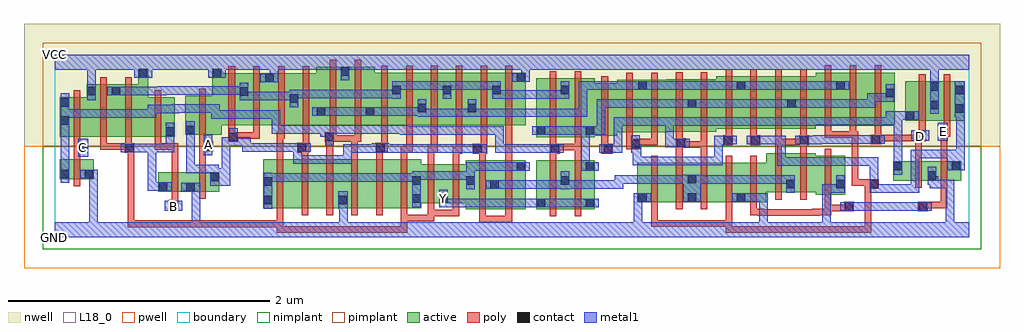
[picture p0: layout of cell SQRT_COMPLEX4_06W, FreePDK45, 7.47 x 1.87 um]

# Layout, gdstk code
import gdstk
lib = gdstk.Library(unit=1e-6, precision=1e-09)
def R(c, l, rs):  # rectangles x0, y0, x1, y1
    for r in rs: c.add(gdstk.rectangle(r[:2], r[2:], *l))
def A(c, l, x, y, w, h, nx, ny, dx, dy):  # array of equal rectangles
    R(c, l, [(x+i*dx, y+j*dy, x+i*dx+w, y+j*dy+h) for i in range(nx) for j in range(ny)])
active = (1, 0)
pwell = (2, 0)
nwell = (3, 0)
nimplant = (4, 0)
pimplant = (5, 0)
poly = (9, 0)
contact = (10, 0)
metal1 = (11, 0)
L18_0 = (18, 0)
boundary = (235, 0)

sqrt_complex4_06w = lib.new_cell('SQRT_COMPLEX4_06W')
A(sqrt_complex4_06w, active, 2.775, 0.86, 0.265, 0.4, 3, 1, 0.19, 0)
R(sqrt_complex4_06w, active, [(3.145,0.217,3.405,0.592), (3.33,0.217,3.605,0.592), (3.685,0.217,3.945,0.592), (3.685,0.217,3.76,0.385), (3.87,0.217,4.135,0.592), (4.06,0.217,4.135,0.592), (1.595,0.225,1.67,0.6), (1.595,0.225,1.82,0.6), (1.82,0.225,2.01,0.6), (2.01,0.225,2.24,0.6), (2.165,0.225,2.39,0.6), (2.165,0.225,2.24,0.527), (2.39,0.225,2.58,0.6), (2.58,0.225,2.805,0.6), (2.73,0.26,2.805,0.475), (2.73,0.262,3.012,0.562), (2.937,0.262,3.22,0.562), (2.937,0.262,3.012,0.437), (3.33,0.27,3.405,0.512), (3.53,0.27,3.605,0.592), (3.87,0.27,3.945,0.475), (4.46,0.27,4.685,0.57), (4.46,0.27,4.535,0.487), (4.685,0.27,4.915,0.57), (4.84,0.27,5.065,0.57), (4.84,0.27,4.915,0.517), (5.065,0.27,5.29,0.57), (5.215,0.27,5.445,0.57), (5.215,0.27,5.29,0.437), (5.825,0.325,6.05,0.625), (5.975,0.325,6.05,0.55), (3.145,0.33,3.22,0.475), (5.445,0.345,5.67,0.645), (5.595,0.345,5.825,0.645), (5.595,0.345,5.67,0.55), (0.792,0.35,0.867,0.5), (0.792,0.35,1.075,0.5), (1,0.35,1.26,0.5), (1,0.35,1.075,0.495), (1.185,0.35,1.26,0.5), (6.417,0.435,6.752,0.585), (6.677,0.435,6.937,0.585), (6.677,0.435,6.752,0.51), (0.04,0.447,0.3,0.597), (0.04,0.447,0.115,0.597), (0.225,0.447,0.3,0.597), (6.417,0.46,6.492,0.585), (6.862,0.495,6.937,0.585), (3.685,0.767,3.945,1.217), (3.87,0.767,4.135,1.217), (0.04,0.772,0.115,1.072), (0.04,0.772,0.32,1.072), (0.245,0.772,0.507,1.172), (0.432,0.772,0.507,1.172), (0.432,0.772,0.715,1.172), (0.64,0.772,0.92,1.072), (0.845,0.772,0.92,0.917), (3.685,0.78,3.76,0.917), (4.06,0.78,4.305,1.18), (4.06,0.78,4.135,1.07), (1,0.785,1.28,1.085), (1,0.785,1.075,0.917), (4.305,0.807,4.535,1.207), (4.46,0.807,4.685,1.207), (4.685,0.81,4.915,1.21), (4.84,0.81,5.065,1.21), (4.84,0.81,4.915,1.07), (5.065,0.832,5.29,1.232), (5.215,0.832,5.445,1.232), (5.445,0.832,5.675,1.232), (5.6,0.832,5.825,1.232), (1.205,0.857,1.487,1.257), (1.412,0.857,1.68,1.257), (1.412,0.857,1.487,1.187), (1.605,0.857,1.87,1.257), (1.605,0.857,1.68,1.257), (1.795,0.857,2.075,1.257), (2,0.857,2.26,1.307), (2.185,0.857,2.45,1.307), (2.185,0.857,2.26,1.307), (3.87,0.857,3.945,1.2), (2.375,0.86,2.655,1.26), (2.58,0.86,2.85,1.26), (2.775,0.86,2.85,1.07), (3.345,0.86,3.605,1.26), (5.825,0.862,6.05,1.262), (5.975,0.862,6.205,1.262), (6.205,0.862,6.43,1.262), (6.355,0.862,6.43,1.2), (6.51,0.895,6.77,1.195), (6.51,0.895,6.585,1.055), (6.695,0.895,6.96,1.195), (6.695,0.895,6.77,1.195), (6.885,0.895,6.96,1.165), (1.795,0.902,1.87,1.2), (2,0.902,2.075,1.07), (2.375,0.902,2.45,1.07), (0.64,0.907,0.715,1.292), (1.205,0.907,1.28,1.292), (2.58,0.907,2.655,1.2), (2.965,0.907,3.04,1.2), (3.155,0.907,3.23,1.07), (3.345,0.907,3.42,1.2), (3.53,0.907,3.605,1.26), (4.46,0.907,4.535,1.2), (5.215,0.907,5.29,1.2), (5.6,0.907,5.675,1.07), (5.975,0.907,6.05,1.2), (0.245,1.007,0.32,1.172)])
R(sqrt_complex4_06w, pwell, [(-0.235,-0.235,7.235,0.7)])
R(sqrt_complex4_06w, nwell, [(-0.235,0.7,7.235,1.635)])
R(sqrt_complex4_06w, nimplant, [(-0.09,-0.09,7.09,0.7)])
R(sqrt_complex4_06w, pimplant, [(-0.09,0.7,7.09,1.49)])
A(sqrt_complex4_06w, poly, 1.7, 0.17, 0.05, 0.485, 6, 1, 0.19, 0)
A(sqrt_complex4_06w, poly, 4.565, 0.215, 0.05, 0.41, 5, 1, 0.19, 0)
A(sqrt_complex4_06w, poly, 1.33, 0.757, 0.05, 0.095, 3, 1, 0.19, 0)
A(sqrt_complex4_06w, poly, 5.135, 0.777, 0.05, 0.51, 4, 1, 0.19, 0)
A(sqrt_complex4_06w, poly, 1.33, 0.802, 0.05, 0.51, 4, 1, 0.19, 0)
A(sqrt_complex4_06w, poly, 2.5, 0.805, 0.05, 0.51, 6, 1, 0.19, 0)
A(sqrt_complex4_06w, poly, 5.895, 0.807, 0.05, 0.51, 3, 1, 0.19, 0)
R(sqrt_complex4_06w, poly, [(1.7,0.037,1.75,0.087), (1.7,0.037,1.75,0.087), (1.7,0.037,1.982,0.087), (1.7,0.037,1.75,0.13), (1.932,0.037,1.982,0.087), (1.932,0.037,2.022,0.087), (1.972,0.037,2.022,0.087), (1.972,0.037,2.155,0.087), (2.105,0.037,2.155,0.087), (2.105,0.037,2.155,0.087), (2.105,0.037,2.155,0.087), (2.105,0.037,2.287,0.087), (2.237,0.037,2.287,0.087), (2.237,0.037,2.287,0.087), (2.237,0.037,2.287,0.087), (2.237,0.037,2.567,0.087), (2.517,0.037,2.567,0.087), (2.517,0.037,2.567,0.087), (2.517,0.037,2.567,0.087), (2.517,0.037,2.7,0.087), (2.65,0.037,2.7,0.175), (5.135,0.037,5.185,0.132), (5.135,0.037,5.185,0.087), (5.135,0.037,5.322,0.087), (5.272,0.037,5.322,0.087), (5.272,0.037,5.322,0.087), (5.272,0.037,5.322,0.087), (5.272,0.037,5.565,0.087), (5.515,0.037,5.565,0.087), (5.515,0.037,5.565,0.087), (5.515,0.037,5.565,0.087), (5.515,0.037,5.79,0.087), (5.74,0.037,5.79,0.087), (5.74,0.037,5.79,0.087), (5.74,0.037,5.79,0.087), (5.74,0.037,5.96,0.087), (5.91,0.037,5.96,0.087), (5.91,0.037,6.092,0.087), (6.042,0.037,6.092,0.087), (6.042,0.037,6.092,0.087), (6.042,0.037,6.092,0.087), (6.042,0.037,6.25,0.087), (6.2,0.037,6.25,0.447), (6.2,0.037,6.25,0.087), (6.2,0.037,6.25,0.087), (6.2,0.037,6.25,0.087), (0.56,0.08,0.61,0.13), (0.56,0.08,0.61,0.13), (0.56,0.08,0.61,0.13), (0.56,0.08,0.61,0.13), (0.56,0.08,0.61,0.13), (0.56,0.08,0.61,0.13), (0.56,0.08,0.61,0.13), (0.56,0.08,0.742,0.13), (0.56,0.08,0.61,0.697), (0.692,0.08,0.742,0.13), (0.692,0.08,0.742,0.13), (0.692,0.08,0.742,0.13), (0.692,0.08,1.022,0.13), (0.972,0.08,1.022,0.13), (0.972,0.08,1.022,0.13), (0.972,0.08,1.022,0.13), (0.972,0.08,1.227,0.13), (1.177,0.08,1.227,0.13), (1.177,0.08,1.227,0.13), (1.177,0.08,1.227,0.13), (1.177,0.08,1.36,0.13), (1.31,0.08,1.36,0.13), (1.31,0.08,1.36,0.13), (1.31,0.08,1.36,0.13), (1.31,0.08,1.617,0.13), (1.567,0.08,1.617,0.13), (1.567,0.08,1.617,0.13), (1.567,0.08,1.617,0.13), (1.567,0.08,1.75,0.13), (1.7,0.08,1.75,0.22), (4.565,0.082,4.615,0.132), (4.565,0.082,4.615,0.132), (4.565,0.082,4.615,0.132), (4.565,0.082,4.615,0.265), (4.565,0.082,4.79,0.132), (4.74,0.082,4.79,0.132), (4.74,0.082,4.79,0.132), (4.74,0.082,4.79,0.132), (4.74,0.082,4.962,0.132), (4.912,0.082,4.962,0.132), (4.912,0.082,4.962,0.132), (4.912,0.082,4.962,0.132), (4.912,0.082,5.185,0.132), (5.135,0.082,5.185,0.132), (5.135,0.082,5.185,0.132), (5.135,0.082,5.185,0.132), (5.135,0.082,5.185,0.265), (3.25,0.117,3.3,0.212), (3.25,0.117,3.3,0.167), (3.25,0.117,3.3,0.167), (3.25,0.117,3.3,0.167), (3.25,0.117,3.5,0.167), (3.45,0.117,3.5,0.212), (3.45,0.117,3.5,0.167), (2.65,0.125,2.7,0.22), (2.65,0.125,2.905,0.175), (2.855,0.125,2.905,0.175), (2.855,0.125,2.905,0.175), (2.855,0.125,2.905,0.212), (2.855,0.162,2.905,0.257), (2.855,0.162,3.095,0.212), (3.045,0.162,3.095,0.257), (3.045,0.162,3.095,0.212), (3.045,0.162,3.095,0.212), (3.045,0.162,3.095,0.212), (3.25,0.162,3.3,0.647), (3.45,0.162,3.5,0.647), (3.79,0.162,3.84,0.647), (3.98,0.162,4.03,0.647), (5.382,0.165,5.432,0.22), (5.382,0.165,5.565,0.215), (5.515,0.165,5.565,0.215), (5.515,0.165,5.657,0.215), (5.607,0.165,5.657,0.215), (5.607,0.165,5.697,0.215), (5.647,0.165,5.697,0.215), (5.647,0.165,5.852,0.215), (5.802,0.165,5.852,0.22), (5.325,0.17,5.375,0.265), (5.325,0.17,5.375,0.22), (5.325,0.17,5.432,0.22), (5.802,0.17,5.945,0.22), (5.895,0.17,5.945,0.25), (5.895,0.2,5.945,0.32), (5.895,0.2,6.092,0.25), (6.042,0.2,6.092,0.25), (6.042,0.2,6.092,0.25), (6.042,0.2,6.092,0.25), (6.042,0.2,6.092,0.25), (6.042,0.2,6.117,0.275), (6.607,0.2,6.682,0.275), (2.855,0.207,2.905,0.617), (3.045,0.207,3.095,0.617), (0.872,0.212,0.947,0.287), (6.632,0.225,6.832,0.275), (6.782,0.225,6.832,0.43), (6.782,0.225,6.832,0.275), (6.782,0.225,6.832,0.275), (6.782,0.225,6.832,0.275), (0.897,0.237,0.947,0.345), (5.895,0.27,5.945,0.68), (5.515,0.29,5.565,0.7), (5.705,0.29,5.755,0.7), (0.897,0.295,0.947,0.555), (1.105,0.295,1.155,0.555), (6.232,0.372,6.307,0.447), (6.587,0.38,6.637,0.64), (6.782,0.38,6.832,0.64), (0.145,0.392,0.195,0.652), (6.1,0.397,6.15,0.447), (6.1,0.397,6.25,0.447), (6.1,0.397,6.15,0.812), (6.2,0.397,6.25,0.447), (6.2,0.397,6.25,0.447), (6.2,0.397,6.25,0.447), (6.2,0.397,6.282,0.447), (0.897,0.505,0.947,0.722), (1.105,0.505,1.155,0.71), (2.855,0.567,2.905,0.7), (3.045,0.567,3.095,0.692), (4.755,0.575,4.805,0.735), (4.945,0.575,4.995,0.735), (6.587,0.59,6.637,0.787), (6.782,0.59,6.832,0.82), (3.25,0.597,3.3,0.692), (3.45,0.597,3.5,0.81), (3.79,0.597,3.84,0.692), (3.98,0.597,4.03,0.717), (0.145,0.602,0.195,0.697), (1.7,0.605,1.75,0.807), (1.89,0.605,1.94,0.7), (2.08,0.605,2.13,0.782), (2.27,0.605,2.32,0.782), (2.46,0.605,2.51,0.7), (2.65,0.605,2.7,0.7), (3.045,0.642,3.12,0.692), (3.07,0.642,3.12,0.855), (3.2,0.642,3.31,0.717), (3.79,0.642,3.865,0.717), (4.185,0.642,4.272,0.717), (0.145,0.647,0.252,0.722), (0.535,0.647,0.61,0.722), (1.855,0.65,1.95,0.725), (2.457,0.65,2.55,0.725), (2.65,0.65,2.74,0.7), (2.69,0.65,2.74,0.855), (2.855,0.65,2.93,0.7), (2.88,0.65,2.93,0.855), (5.515,0.65,5.565,0.757), (5.705,0.65,5.755,0.757), (1.105,0.66,1.212,0.735), (3.26,0.667,3.31,0.855), (3.79,0.667,3.84,0.762), (3.815,0.667,4.03,0.717), (3.98,0.667,4.03,0.762), (3.98,0.667,4.03,0.717), (3.98,0.667,4.03,0.717), (3.98,0.667,4.03,0.717), (4.185,0.667,4.235,0.775), (0.145,0.672,0.195,0.767), (0.35,0.672,0.4,0.767), (0.35,0.672,0.4,0.722), (0.35,0.672,0.4,0.722), (0.35,0.672,0.4,0.722), (0.35,0.672,0.585,0.722), (0.54,0.672,0.59,0.767), (0.765,0.672,0.815,0.722), (0.765,0.672,0.947,0.722), (0.765,0.672,0.815,1.127), (1.9,0.675,1.95,0.852), (2.5,0.675,2.55,0.855), (4.375,0.677,4.482,0.757), (1.105,0.685,1.155,0.78), (4.755,0.685,4.83,0.76), (4.78,0.685,4.83,0.735), (4.78,0.685,4.83,0.735), (4.78,0.685,4.995,0.735), (4.945,0.685,4.995,0.735), (4.945,0.685,4.995,0.805), (4.375,0.707,4.425,0.802), (4.432,0.707,4.482,0.757), (4.432,0.707,4.482,0.757), (4.432,0.707,4.615,0.757), (4.565,0.707,4.615,0.802), (4.565,0.707,4.615,0.757), (5.115,0.707,5.19,0.782), (5.325,0.707,5.4,0.782), (5.515,0.707,5.565,0.757), (5.515,0.707,5.565,0.757), (5.515,0.707,5.565,0.757), (5.515,0.707,5.565,0.827), (5.515,0.707,5.747,0.757), (5.697,0.707,5.772,0.782), (4.755,0.71,4.805,0.805), (3.79,0.712,3.84,1.272), (3.98,0.712,4.03,1.272), (6.247,0.712,6.325,0.787), (0.145,0.717,0.195,1.127), (0.35,0.717,0.4,1.227), (0.54,0.717,0.59,1.227), (4.185,0.725,4.235,1.235), (1.105,0.73,1.155,1.14), (1.33,0.732,1.405,0.807), (2.065,0.732,2.155,0.807), (2.105,0.732,2.155,0.782), (2.105,0.732,2.155,0.782), (2.105,0.732,2.32,0.782), (2.27,0.732,2.345,0.782), (2.295,0.732,2.345,0.852), (5.135,0.732,5.185,0.827), (5.325,0.732,5.375,0.827), (5.705,0.732,5.755,0.827), (6.275,0.737,6.457,0.787), (6.275,0.737,6.325,0.857), (6.407,0.737,6.457,0.787), (6.407,0.737,6.457,0.787), (6.407,0.737,6.457,0.787), (6.407,0.737,6.637,0.787), (6.587,0.737,6.665,0.812), (4.375,0.752,4.425,1.262), (4.565,0.752,4.615,1.262), (4.755,0.755,4.805,1.265), (4.945,0.755,4.995,1.265), (1.355,0.757,1.405,0.807), (1.355,0.757,1.405,0.807), (1.355,0.757,1.57,0.807), (1.52,0.757,1.57,0.807), (1.7,0.757,1.76,0.807), (2.105,0.757,2.155,0.852), (3.45,0.76,3.5,0.855), (3.45,0.76,3.5,0.81), (5.895,0.762,5.945,0.857), (5.895,0.762,5.945,0.812), (5.895,0.762,6.117,0.812), (6.067,0.762,6.117,0.812), (6.067,0.762,6.135,0.812), (6.085,0.762,6.135,0.857), (6.085,0.762,6.135,0.812), (6.085,0.762,6.135,0.812), (6.085,0.762,6.15,0.812), (6.615,0.762,6.665,0.89), (6.765,0.77,6.855,0.845), (6.805,0.795,6.855,0.89), (2.105,0.802,2.155,1.362), (2.295,0.802,2.345,1.362), (6.615,0.84,6.665,1.25), (6.805,0.84,6.855,1.25)])
R(sqrt_complex4_06w, contact, [(6.047,0.205,6.112,0.27), (6.612,0.205,6.677,0.27), (0.877,0.217,0.942,0.282), (3.69,0.232,3.755,0.297), (4.065,0.232,4.13,0.297), (1.6,0.255,1.665,0.32), (2.17,0.255,2.235,0.32), (2.735,0.265,2.8,0.33), (2.942,0.267,3.007,0.332), (4.465,0.275,4.53,0.34), (4.845,0.275,4.91,0.34), (5.22,0.275,5.285,0.34), (1.005,0.355,1.07,0.42), (0.797,0.357,0.862,0.422), (3.335,0.372,3.4,0.437), (5.6,0.377,5.665,0.442), (5.98,0.377,6.045,0.442), (6.237,0.377,6.302,0.442), (1.6,0.395,1.665,0.46), (2.735,0.405,2.8,0.47), (3.15,0.405,3.215,0.47), (3.875,0.405,3.94,0.47), (4.845,0.415,4.91,0.48), (1.19,0.43,1.255,0.495), (6.682,0.44,6.747,0.505), (0.045,0.452,0.11,0.517), (0.23,0.452,0.295,0.517), (3.535,0.51,3.6,0.575), (4.065,0.51,4.13,0.575), (6.422,0.515,6.487,0.58), (6.867,0.515,6.932,0.58), (3.205,0.647,3.27,0.712), (3.795,0.647,3.86,0.712), (4.202,0.647,4.267,0.712), (0.182,0.652,0.247,0.717), (0.54,0.652,0.605,0.717), (1.86,0.655,1.925,0.72), (2.462,0.655,2.527,0.72), (1.142,0.665,1.207,0.73), (4.412,0.682,4.477,0.747), (4.76,0.69,4.825,0.755), (5.12,0.712,5.185,0.777), (5.33,0.712,5.395,0.777), (5.702,0.712,5.767,0.777), (6.252,0.717,6.317,0.782), (1.335,0.737,1.4,0.802), (2.07,0.737,2.135,0.802), (6.592,0.742,6.657,0.807), (6.77,0.775,6.835,0.84), (0.85,0.777,0.915,0.842), (3.69,0.785,3.755,0.85), (4.065,0.785,4.13,0.85), (1.005,0.79,1.07,0.855), (0.045,0.862,0.11,0.927), (6.515,0.9,6.58,0.965), (2.005,0.93,2.07,0.995), (2.38,0.93,2.445,0.995), (6.89,0.955,6.955,1.02), (2.78,0.957,2.845,1.022), (3.16,0.957,3.225,1.022), (6.7,0.982,6.765,1.047), (4.845,0.992,4.91,1.057), (5.605,0.992,5.67,1.057), (0.045,1.002,0.11,1.067), (1.8,1.032,1.865,1.097), (6.36,1.072,6.425,1.137), (1.417,1.085,1.482,1.15), (0.25,1.087,0.315,1.152), (0.437,1.087,0.502,1.152), (2.585,1.095,2.65,1.16), (2.97,1.095,3.035,1.16), (3.35,1.095,3.415,1.16), (3.875,1.095,3.94,1.16), (6.89,1.095,6.955,1.16), (6.7,1.122,6.765,1.187), (4.465,1.13,4.53,1.195), (5.22,1.13,5.285,1.195), (5.98,1.13,6.045,1.195), (1.61,1.187,1.675,1.252), (3.535,1.19,3.6,1.255), (0.645,1.222,0.71,1.287), (1.21,1.222,1.275,1.287), (2.19,1.237,2.255,1.302)])
A(sqrt_complex4_06w, metal1, 5.805, 1.13, 0.135, 0.065, 3, 1, 0.07, 0)
R(sqrt_complex4_06w, metal1, [(0,0,7,0.115), (0.265,0.05,0.33,0.517), (1.05,0.05,1.115,0.42), (2.177,0.05,2.242,0.115), (2.177,0.05,2.242,0.115), (2.177,0.05,2.242,0.285), (4.43,0.05,4.495,0.115), (4.43,0.05,4.495,0.115), (4.43,0.05,4.495,0.115), (4.43,0.05,4.495,0.115), (4.43,0.05,4.495,0.34), (5.392,0.05,5.457,0.115), (5.392,0.05,5.457,0.115), (5.392,0.05,5.457,0.115), (5.392,0.05,5.457,0.115), (5.392,0.05,5.457,0.34), (5.875,0.05,5.94,0.115), (5.875,0.05,5.94,0.115), (5.875,0.05,5.94,0.407), (6.82,0.05,6.885,0.442), (0.842,0.205,0.977,0.282), (6.012,0.205,6.147,0.27), (6.082,0.205,6.287,0.27), (6.222,0.205,6.287,0.27), (6.222,0.205,6.287,0.27), (6.222,0.205,6.287,0.27), (6.222,0.205,6.48,0.27), (6.415,0.205,6.48,0.27), (6.415,0.205,6.48,0.27), (6.415,0.205,6.48,0.27), (6.415,0.205,6.642,0.27), (6.577,0.205,6.712,0.27), (1.6,0.22,1.665,0.495), (2.17,0.22,2.242,0.355), (2.177,0.22,2.242,0.285), (2.177,0.22,2.242,0.285), (2.735,0.23,2.8,0.505), (2.942,0.232,3.007,0.367), (2.942,0.232,3.075,0.297), (3.01,0.232,3.075,0.297), (3.01,0.232,3.215,0.297), (3.15,0.232,3.215,0.297), (3.15,0.232,3.215,0.297), (3.15,0.232,3.215,0.297), (3.15,0.232,3.427,0.297), (3.362,0.232,3.427,0.297), (3.362,0.232,3.572,0.297), (3.507,0.232,3.572,0.297), (3.507,0.232,3.572,0.297), (3.507,0.232,3.572,0.297), (3.507,0.232,3.72,0.297), (3.655,0.232,3.79,0.297), (3.725,0.232,3.79,0.297), (3.725,0.232,3.79,0.297), (3.725,0.232,3.94,0.297), (3.875,0.232,3.94,0.297), (3.875,0.232,4.077,0.297), (4.012,0.232,4.077,0.297), (4.012,0.232,4.095,0.297), (4.03,0.232,4.165,0.297), (4.43,0.275,4.565,0.34), (4.81,0.275,4.945,0.48), (5.185,0.275,5.32,0.34), (5.255,0.275,5.32,0.34), (5.255,0.275,5.32,0.34), (5.255,0.275,5.457,0.34), (5.392,0.275,5.457,0.34), (5.6,0.342,5.665,0.477), (5.875,0.342,5.94,0.407), (5.875,0.342,5.94,0.407), (5.875,0.342,5.94,0.407), (5.875,0.342,5.94,0.407), (5.875,0.342,5.94,0.407), (5.875,0.342,6.045,0.407), (5.98,0.342,6.045,0.477), (6.237,0.342,6.302,0.477), (6.237,0.342,6.48,0.407), (6.415,0.342,6.48,0.407), (6.415,0.342,6.48,0.407), (6.415,0.342,6.48,0.407), (6.415,0.342,6.617,0.407), (6.552,0.342,6.617,0.407), (6.552,0.342,6.617,0.67), (0.97,0.355,1.115,0.42), (1.05,0.355,1.115,0.42), (1.05,0.355,1.115,0.42), (1.05,0.355,1.115,0.42), (1.05,0.355,1.115,0.42), (1.05,0.355,1.115,0.42), (1.05,0.355,1.115,0.42), (0.712,0.357,0.777,0.717), (0.712,0.357,0.897,0.422), (3.15,0.37,3.215,0.505), (3.875,0.37,3.94,0.505), (3.3,0.372,3.435,0.437), (3.37,0.372,3.582,0.437), (3.517,0.372,3.582,0.437), (3.517,0.372,3.582,0.437), (3.517,0.372,3.582,0.437), (3.517,0.372,3.802,0.437), (3.737,0.372,3.802,0.437), (3.737,0.372,3.802,0.437), (3.737,0.372,3.802,0.437), (3.737,0.372,3.94,0.437), (3.875,0.372,3.94,0.437), (3.875,0.372,3.94,0.437), (3.875,0.372,4.077,0.437), (4.012,0.372,4.077,0.437), (4.012,0.372,4.215,0.437), (4.15,0.372,4.215,0.437), (4.15,0.372,4.352,0.437), (4.287,0.372,4.352,0.477), (6.697,0.377,6.885,0.442), (6.697,0.377,6.762,0.47), (6.82,0.377,6.885,0.442), (6.82,0.377,6.885,0.442), (6.82,0.377,6.885,0.442), (6.82,0.377,6.885,0.442), (6.82,0.377,6.885,0.442), (6.82,0.377,6.885,0.442), (6.82,0.377,6.885,0.442), (1.19,0.395,1.345,0.53), (6.682,0.405,6.762,0.47), (6.682,0.405,6.747,0.54), (4.287,0.412,4.49,0.477), (4.425,0.412,4.49,0.477), (4.425,0.412,4.49,0.477), (4.425,0.412,4.49,0.477), (4.425,0.412,4.632,0.477), (4.567,0.412,4.632,0.477), (4.567,0.412,4.702,0.477), (4.637,0.412,4.702,0.477), (4.637,0.412,4.807,0.477), (4.742,0.412,4.807,0.477), (4.742,0.412,4.875,0.477), (4.88,0.412,4.945,0.477), (4.88,0.412,4.945,0.477), (4.88,0.412,5.112,0.477), (5.047,0.412,5.112,0.477), (5.047,0.412,5.112,0.477), (5.047,0.412,5.112,0.477), (5.047,0.412,5.25,0.477), (5.185,0.412,5.25,0.477), (5.185,0.412,5.25,0.477), (5.185,0.412,5.25,0.477), (5.185,0.412,5.457,0.477), (5.392,0.412,5.457,0.477), (5.392,0.412,5.595,0.477), (5.53,0.412,5.595,0.477), (5.53,0.412,5.665,0.477), (6.237,0.412,6.302,0.615), (0.045,0.417,0.11,0.552), (1.6,0.427,1.727,0.492), (1.662,0.427,1.727,0.492), (1.662,0.427,1.897,0.492), (1.832,0.427,1.897,0.492), (1.832,0.427,1.897,0.492), (1.832,0.427,1.897,0.492), (1.832,0.427,2.097,0.492), (2.032,0.427,2.097,0.492), (2.032,0.427,2.097,0.492), (2.032,0.427,2.097,0.492), (2.032,0.427,2.272,0.492), (2.207,0.427,2.272,0.492), (2.207,0.427,2.272,0.492), (2.207,0.427,2.272,0.492), (2.207,0.427,2.41,0.492), (2.345,0.427,2.41,0.492), (2.345,0.427,2.57,0.492), (2.505,0.427,2.57,0.492), (2.505,0.427,2.65,0.492), (2.585,0.427,2.65,0.492), (2.585,0.427,2.8,0.492), (2.735,0.427,2.8,0.492), (2.735,0.427,2.8,0.492), (2.735,0.44,2.937,0.505), (2.872,0.44,2.937,0.505), (2.872,0.44,3.075,0.505), (3.01,0.44,3.075,0.505), (3.01,0.44,3.075,0.505), (3.01,0.44,3.075,0.505), (3.01,0.44,3.215,0.505), (3.15,0.44,3.215,0.575), (0.195,0.452,0.33,0.517), (0.265,0.452,0.33,0.517), (0.265,0.452,0.33,0.517), (0.265,0.452,0.33,0.517), (0.265,0.452,0.33,0.517), (0.265,0.452,0.33,0.517), (0.265,0.452,0.33,0.517), (1.19,0.465,1.255,0.53), (1.19,0.465,1.255,0.557), (1.28,0.465,1.345,0.767), (6.422,0.48,6.487,0.615), (0.045,0.487,0.11,0.892), (1.005,0.492,1.07,0.557), (1.005,0.492,1.07,0.557), (1.005,0.492,1.07,0.557), (1.005,0.492,1.07,0.82), (1.005,0.492,1.255,0.557), (3.15,0.51,3.215,0.575), (3.15,0.51,3.215,0.575), (3.15,0.51,3.215,0.575), (3.15,0.51,3.427,0.575), (3.362,0.51,3.427,0.575), (3.362,0.51,3.442,0.575), (3.377,0.51,3.442,0.575), (3.377,0.51,3.565,0.575), (3.5,0.51,3.635,0.575), (4.03,0.51,4.165,0.575), (4.03,0.51,4.095,0.85), (6.832,0.515,6.967,0.607), (6.832,0.542,6.897,0.607), (6.832,0.542,6.897,0.67), (6.902,0.542,6.967,0.985), (6.902,0.542,6.967,0.607), (6.902,0.542,6.967,0.607), (5.53,0.55,5.595,0.615), (5.53,0.55,5.732,0.615), (5.53,0.55,5.595,0.777), (5.667,0.55,5.732,0.615), (5.667,0.55,5.872,0.615), (5.807,0.55,5.872,0.615), (5.807,0.55,5.94,0.615), (5.875,0.55,5.94,0.615), (5.875,0.55,6.077,0.615), (6.012,0.55,6.077,0.615), (6.012,0.55,6.077,0.615), (6.012,0.55,6.077,0.615), (6.012,0.55,6.215,0.615), (6.15,0.55,6.215,0.615), (6.15,0.55,6.302,0.615), (6.237,0.55,6.302,0.615), (6.422,0.55,6.487,0.965), (4.425,0.552,4.49,0.617), (4.425,0.552,4.632,0.617), (4.425,0.552,4.49,0.712), (4.567,0.552,4.632,0.617), (4.567,0.552,4.737,0.617), (4.672,0.552,4.737,0.617), (4.672,0.552,4.807,0.617), (4.742,0.552,4.807,0.617), (4.742,0.552,4.975,0.617), (4.91,0.552,4.975,0.617), (4.91,0.552,4.975,0.617), (4.91,0.552,4.975,0.617), (4.91,0.552,5.112,0.617), (5.047,0.552,5.112,0.617), (5.047,0.552,5.112,0.777), (1.825,0.565,1.89,0.63), (1.825,0.565,1.89,0.63), (1.825,0.565,1.89,0.63), (1.825,0.565,2.097,0.63), (1.825,0.565,1.89,0.72), (2.032,0.565,2.097,0.63), (2.032,0.565,2.097,0.63), (2.032,0.565,2.097,0.63), (2.032,0.565,2.272,0.63), (2.207,0.565,2.272,0.63), (2.207,0.565,2.272,0.712), (6.552,0.605,6.625,0.67), (6.56,0.605,6.625,0.67), (6.56,0.605,6.625,0.67), (6.56,0.605,6.897,0.67), (0.182,0.617,0.257,0.757), (1.142,0.63,1.207,0.785), (2.207,0.647,2.272,0.712), (2.207,0.647,2.272,0.712), (2.207,0.647,2.272,0.712), (2.207,0.647,2.492,0.712), (2.427,0.647,2.492,0.712), (2.427,0.647,2.492,0.712), (2.427,0.647,2.562,0.72), (2.497,0.647,2.65,0.712), (2.585,0.647,2.65,0.712), (2.585,0.647,2.8,0.712), (2.735,0.647,2.8,0.712), (2.735,0.647,2.8,0.712), (2.735,0.647,2.8,0.712), (2.735,0.647,2.937,0.712), (2.872,0.647,2.937,0.712), (2.872,0.647,3.077,0.712), (3.012,0.647,3.077,0.712), (3.012,0.647,3.077,0.712), (3.012,0.647,3.077,0.712), (3.012,0.647,3.227,0.712), (3.162,0.647,3.227,0.712), (3.162,0.647,3.235,0.712), (3.17,0.647,3.305,0.712), (3.37,0.647,3.435,0.712), (3.37,0.647,3.435,0.85), (3.37,0.647,3.58,0.712), (3.515,0.647,3.58,0.712), (3.515,0.647,3.58,0.712), (3.515,0.647,3.58,0.712), (3.515,0.647,3.72,0.712), (3.655,0.647,3.72,0.712), (3.655,0.647,3.825,0.712), (3.76,0.647,3.895,0.712), (4.167,0.647,4.302,0.712), (4.237,0.647,4.345,0.712), (4.28,0.647,4.345,0.712), (4.28,0.647,4.345,0.92), (4.412,0.647,4.477,0.782), (4.412,0.647,4.49,0.712), (4.425,0.647,4.49,0.712), (0.505,0.652,0.64,0.717), (0.575,0.652,0.777,0.717), (0.712,0.652,0.777,0.717), (0.712,0.652,0.777,0.717), (0.712,0.652,0.777,0.717), (0.712,0.652,0.915,0.717), (0.85,0.652,0.915,0.717), (0.85,0.652,0.915,0.807), (1.437,0.655,1.59,0.72), (1.437,0.655,1.502,0.767), (1.525,0.655,1.59,0.72), (1.525,0.655,1.727,0.72), (1.662,0.655,1.727,0.72), (1.662,0.655,1.727,0.72), (1.662,0.655,1.727,0.72), (1.662,0.655,1.89,0.72), (1.825,0.655,1.89,0.72), (1.825,0.655,1.89,0.72), (1.825,0.655,1.96,0.72), (4.672,0.69,4.737,0.755), (4.672,0.69,4.79,0.755), (4.672,0.69,4.737,0.92), (4.725,0.69,4.86,0.755), (1.28,0.702,1.345,0.767), (1.28,0.702,1.4,0.767), (1.335,0.702,1.4,0.837), (1.335,0.702,1.502,0.767), (2.07,0.702,2.135,0.837), (5.047,0.712,5.112,0.777), (5.047,0.712,5.15,0.777), (5.085,0.712,5.22,0.777), (5.295,0.712,5.43,0.777), (5.365,0.712,5.457,0.777), (5.392,0.712,5.457,0.777), (5.392,0.712,5.595,0.777), (5.53,0.712,5.595,0.777), (5.53,0.712,5.595,0.777), (5.53,0.712,5.595,0.777), (5.667,0.712,5.802,0.777), (5.737,0.712,5.87,0.777), (5.805,0.712,5.87,0.782), (5.805,0.717,5.94,0.782), (5.875,0.717,5.94,0.782), (5.875,0.717,6.077,0.782), (6.012,0.717,6.077,0.782), (6.012,0.717,6.077,0.782), (6.012,0.717,6.077,0.782), (6.012,0.717,6.215,0.782), (6.15,0.717,6.215,0.782), (6.15,0.717,6.282,0.782), (6.217,0.717,6.352,0.782), (6.757,0.74,6.835,0.877), (0.85,0.742,0.915,0.877), (6.557,0.742,6.692,0.82), (1.005,0.755,1.07,0.89), (2.032,0.772,2.097,0.837), (2.032,0.772,2.135,0.837), (2.032,0.772,2.097,0.857), (2.642,0.785,2.87,0.85), (2.642,0.785,2.707,0.857), (2.805,0.785,2.87,0.85), (2.805,0.785,2.937,0.85), (2.872,0.785,2.937,0.85), (2.872,0.785,3.075,0.85), (3.01,0.785,3.075,0.85), (3.01,0.785,3.075,0.85), (3.01,0.785,3.075,0.85), (3.01,0.785,3.227,0.85), (3.162,0.785,3.227,0.85), (3.162,0.785,3.227,0.85), (3.162,0.785,3.227,0.85), (3.162,0.785,3.435,0.85), (3.37,0.785,3.435,0.85), (3.655,0.785,3.79,0.85), (3.725,0.785,3.79,0.85), (3.725,0.785,3.79,0.85), (3.725,0.785,3.94,0.85), (3.875,0.785,3.94,0.85), (3.875,0.785,3.94,0.85), (3.875,0.785,3.94,0.85), (3.875,0.785,4.095,0.85), (4.03,0.785,4.095,0.85), (4.03,0.785,4.095,0.85), (4.03,0.785,4.165,0.85), (4.1,0.785,4.215,0.85), (4.15,0.785,4.215,0.85), (4.15,0.785,4.215,1.057), (1.662,0.792,1.727,0.857), (1.662,0.792,1.727,0.857), (1.662,0.792,1.897,0.857), (1.662,0.792,1.727,0.975), (1.832,0.792,1.897,0.857), (1.832,0.792,1.897,0.857), (1.832,0.792,1.897,0.857), (1.832,0.792,2.097,0.857), (2.032,0.792,2.097,0.857), (2.032,0.792,2.097,0.857), (2.032,0.792,2.097,0.857), (2.032,0.792,2.272,0.857), (2.207,0.792,2.272,0.857), (2.207,0.792,2.272,0.857), (2.207,0.792,2.272,0.857), (2.207,0.792,2.512,0.857), (2.447,0.792,2.512,0.857), (2.447,0.792,2.525,0.857), (2.46,0.792,2.525,0.857), (2.46,0.792,2.662,0.857), (2.597,0.792,2.662,0.857), (2.597,0.792,2.707,0.857), (0.045,0.827,0.11,0.892), (0.045,0.827,0.11,0.892), (0.045,0.827,0.11,1.102), (4.28,0.855,4.345,0.92), (4.28,0.855,4.49,0.92), (4.425,0.855,4.49,0.92), (4.425,0.855,4.49,0.92), (4.425,0.855,4.49,0.92), (4.425,0.855,4.632,0.92), (4.567,0.855,4.632,0.92), (4.567,0.855,4.737,0.92), (4.672,0.855,4.737,0.92), (4.672,0.855,4.807,0.92), (4.742,0.855,4.807,0.92), (4.742,0.855,4.975,0.92), (4.91,0.855,4.975,0.92), (4.91,0.855,4.975,0.92), (4.91,0.855,4.975,0.92), (4.91,0.855,5.112,0.92), (5.047,0.855,5.112,0.92), (5.047,0.855,5.112,0.92), (5.047,0.855,5.112,0.92), (5.047,0.855,5.25,0.92), (5.185,0.855,5.25,0.92), (5.185,0.855,5.25,0.92), (5.185,0.855,5.25,0.92), (5.185,0.855,5.457,0.92), (5.392,0.855,5.457,0.92), (5.392,0.855,5.567,0.92), (5.502,0.855,5.567,0.92), (5.502,0.855,5.732,0.92), (5.667,0.855,5.732,0.92), (5.667,0.855,5.732,0.92), (5.667,0.855,5.732,0.92), (5.667,0.855,5.872,0.92), (5.807,0.855,5.872,0.92), (5.807,0.855,5.94,0.92), (5.875,0.855,5.94,0.92), (5.875,0.855,6.077,0.92), (6.012,0.855,6.077,0.92), (6.012,0.855,6.077,0.92), (6.012,0.855,6.077,0.92), (6.012,0.855,6.215,0.92), (6.15,0.855,6.215,0.92), (6.15,0.855,6.342,0.92), (6.277,0.855,6.342,0.92), (6.277,0.855,6.425,0.92), (6.36,0.855,6.425,0.965), (6.36,0.9,6.487,0.965), (6.422,0.9,6.487,0.965), (6.422,0.9,6.487,0.965), (6.422,0.9,6.615,0.965), (1.197,0.91,1.262,0.975), (1.197,0.91,1.262,1.02), (1.197,0.91,1.452,0.975), (1.387,0.91,1.452,0.975), (1.387,0.91,1.502,0.975), (1.437,0.91,1.502,0.975), (1.437,0.91,1.59,0.975), (1.525,0.91,1.59,0.975), (1.525,0.91,1.727,0.975), (0.045,0.915,0.11,0.98), (0.045,0.915,0.11,0.98), (0.045,0.915,0.33,0.98), (0.265,0.915,0.33,0.98), (0.265,0.915,0.33,0.98), (0.265,0.915,0.33,0.98), (0.265,0.915,0.467,0.98), (0.402,0.915,0.467,0.98), (0.402,0.915,0.467,0.98), (0.402,0.915,0.467,0.98), (0.402,0.915,0.777,0.98), (0.712,0.915,0.777,0.98), (0.712,0.915,0.777,1.015), (6.89,0.92,6.967,1.195), (2.78,0.922,2.845,1.057), (2.78,0.922,2.937,0.987), (2.872,0.922,2.937,0.987), (2.872,0.922,3.077,0.987), (3.012,0.922,3.077,0.987), (3.012,0.922,3.077,0.987), (3.012,0.922,3.077,0.987), (3.012,0.922,3.225,0.987), (3.16,0.922,3.225,0.987), (3.16,0.922,3.225,0.987), (3.16,0.922,3.225,1.057), (3.16,0.922,3.365,0.987), (3.3,0.922,3.365,0.987), (3.3,0.922,3.582,0.987), (3.517,0.922,3.582,0.987), (3.517,0.922,3.582,0.987), (3.517,0.922,3.582,0.987), (3.517,0.922,3.72,0.987), (3.655,0.922,3.72,0.987), (3.655,0.922,3.72,0.987), (3.655,0.922,3.72,0.987), (3.655,0.922,3.94,0.987), (3.875,0.922,3.94,0.987), (3.875,0.922,4.077,0.987), (4.012,0.922,4.077,0.987), (4.012,0.922,4.077,0.987), (4.012,0.922,4.077,0.987), (4.012,0.922,4.077,1.195), (1.97,0.93,2.105,0.995), (2.04,0.93,2.105,0.995), (2.04,0.93,2.105,0.995), (2.04,0.93,2.272,0.995), (2.207,0.93,2.272,0.995), (2.207,0.93,2.272,0.995), (2.207,0.93,2.272,0.995), (2.207,0.93,2.41,0.995), (2.345,0.93,2.48,0.995), (2.415,0.93,2.492,0.995), (2.427,0.93,2.492,0.995), (2.427,0.93,2.662,0.995), (2.597,0.93,2.662,0.995), (2.597,0.93,2.757,0.995), (2.692,0.93,2.757,0.995), (2.692,0.93,2.845,0.995), (6.7,0.947,6.765,1.222), (0.712,0.95,0.777,1.015), (0.712,0.95,0.777,1.015), (0.712,0.95,0.777,1.015), (0.712,0.95,0.957,1.015), (0.892,0.95,0.957,1.02), (0.892,0.955,0.99,1.02), (0.925,0.955,0.99,1.02), (0.925,0.955,1.262,1.02), (1.197,0.955,1.262,1.02), (1.197,0.955,1.262,1.02), (1.197,0.955,1.262,1.02), (4.15,0.992,4.215,1.057), (4.15,0.992,4.352,1.057), (4.287,0.992,4.352,1.057), (4.287,0.992,4.49,1.057), (4.425,0.992,4.49,1.057), (4.425,0.992,4.49,1.057), (4.425,0.992,4.49,1.057), (4.425,0.992,4.632,1.057), (4.567,0.992,4.632,1.057), (4.567,0.992,4.737,1.057), (4.672,0.992,4.737,1.057), (4.672,0.992,4.77,1.057), (4.705,0.992,4.77,1.057), (4.705,0.992,4.875,1.057), (4.81,0.992,4.945,1.057), (4.88,0.992,4.945,1.057), (4.88,0.992,4.945,1.057), (4.88,0.992,5.112,1.057), (5.047,0.992,5.112,1.057), (5.047,0.992,5.112,1.057), (5.047,0.992,5.112,1.057), (5.047,0.992,5.25,1.057), (5.185,0.992,5.25,1.057), (5.185,0.992,5.25,1.057), (5.185,0.992,5.25,1.057), (5.185,0.992,5.457,1.057), (5.392,0.992,5.457,1.057), (5.392,0.992,5.595,1.057), (5.53,0.992,5.595,1.057), (5.53,0.992,5.635,1.057), (5.57,0.992,5.705,1.057), (5.64,0.992,5.732,1.057), (5.667,0.992,5.732,1.057), (5.667,0.992,5.872,1.057), (5.807,0.992,5.872,1.057), (5.807,0.992,5.94,1.057), (5.875,0.992,5.94,1.057), (5.875,0.992,6.077,1.057), (6.012,0.992,6.077,1.057), (6.012,0.992,6.077,1.057), (6.012,0.992,6.077,1.057), (6.012,0.992,6.285,1.057), (6.22,0.992,6.285,1.102), (1.8,0.997,1.865,1.132), (6.22,1.037,6.285,1.102), (6.22,1.037,6.285,1.102), (6.22,1.037,6.425,1.102), (6.36,1.037,6.425,1.172), (1.417,1.05,1.482,1.185), (1.417,1.05,1.59,1.115), (1.525,1.05,1.59,1.115), (1.525,1.05,1.727,1.115), (1.662,1.05,1.727,1.115), (1.662,1.05,1.727,1.115), (1.662,1.05,1.727,1.115), (1.662,1.05,1.865,1.115), (0.25,1.052,0.315,1.187), (2.585,1.06,2.65,1.195), (2.97,1.06,3.035,1.195), (3.35,1.06,3.415,1.195), (3.35,1.06,3.442,1.125), (3.377,1.06,3.442,1.125), (3.377,1.06,3.572,1.125), (3.507,1.06,3.572,1.125), (3.507,1.06,3.802,1.125), (3.737,1.06,3.802,1.125), (3.737,1.06,3.802,1.125), (3.737,1.06,3.802,1.125), (3.737,1.06,3.94,1.125), (3.875,1.06,3.94,1.195), (1.8,1.067,1.865,1.132), (1.8,1.067,1.865,1.132), (1.8,1.067,2.097,1.132), (2.032,1.067,2.097,1.132), (2.032,1.067,2.097,1.132), (2.032,1.067,2.097,1.132), (2.032,1.067,2.242,1.132), (2.177,1.067,2.242,1.132), (2.177,1.067,2.355,1.132), (2.29,1.067,2.355,1.132), (2.29,1.067,2.41,1.132), (2.345,1.067,2.41,1.132), (2.345,1.067,2.57,1.132), (2.505,1.067,2.57,1.132), (2.505,1.067,2.65,1.132), (0.402,1.087,0.537,1.152), (0.472,1.087,0.537,1.152), (0.472,1.087,0.537,1.152), (0.472,1.087,0.675,1.152), (0.61,1.087,0.675,1.152), (0.61,1.087,0.852,1.152), (0.787,1.087,0.852,1.157), (0.787,1.092,0.99,1.157), (0.925,1.092,0.99,1.157), (0.925,1.092,0.99,1.157), (0.925,1.092,0.99,1.157), (0.925,1.092,1.132,1.157), (1.067,1.092,1.132,1.157), (1.067,1.092,1.315,1.157), (1.25,1.092,1.315,1.157), (1.25,1.092,1.452,1.157), (1.387,1.092,1.452,1.157), (1.387,1.092,1.482,1.157), (0.25,1.122,0.315,1.35), (2.585,1.13,2.8,1.195), (2.735,1.13,2.8,1.195), (2.735,1.13,2.8,1.195), (2.735,1.13,2.8,1.195), (2.735,1.13,2.937,1.195), (2.872,1.13,2.937,1.195), (2.872,1.13,3.035,1.195), (2.97,1.13,3.075,1.195), (3.01,1.13,3.075,1.195), (3.01,1.13,3.227,1.195), (3.162,1.13,3.227,1.195), (3.162,1.13,3.227,1.195), (3.162,1.13,3.227,1.195), (3.162,1.13,3.415,1.195), (4.012,1.13,4.077,1.195), (4.012,1.13,4.34,1.195), (4.275,1.13,4.34,1.195), (4.275,1.13,4.34,1.195), (4.275,1.13,4.34,1.195), (4.275,1.13,4.495,1.195), (4.43,1.13,4.495,1.195), (4.43,1.13,4.495,1.195), (4.43,1.13,4.565,1.195), (4.5,1.13,4.632,1.195), (4.567,1.13,4.632,1.195), (4.567,1.13,4.737,1.195), (4.672,1.13,4.737,1.195), (4.672,1.13,4.807,1.195), (4.742,1.13,4.807,1.195), (4.742,1.13,4.975,1.195), (4.91,1.13,4.975,1.195), (4.91,1.13,4.975,1.195), (4.91,1.13,4.975,1.195), (4.91,1.13,5.112,1.195), (5.047,1.13,5.112,1.195), (5.047,1.13,5.112,1.195), (5.047,1.13,5.112,1.195), (5.047,1.13,5.25,1.195), (5.185,1.13,5.32,1.195), (5.255,1.13,5.32,1.195), (5.255,1.13,5.32,1.195), (5.255,1.13,5.457,1.195), (5.392,1.13,5.457,1.195), (5.392,1.13,5.595,1.195), (5.53,1.13,5.595,1.195), (5.53,1.13,5.595,1.195), (5.53,1.13,5.595,1.195), (5.53,1.13,5.802,1.195), (5.737,1.13,5.802,1.195), (5.737,1.13,5.87,1.195), (5.805,1.13,5.87,1.195), (5.875,1.13,5.94,1.195), (6.7,1.157,6.765,1.35), (1.575,1.187,1.71,1.252), (1.645,1.187,1.71,1.35), (3.5,1.19,3.635,1.255), (3.57,1.19,3.635,1.35), (2.19,1.202,2.255,1.337), (0.61,1.222,0.745,1.287), (0.68,1.222,0.745,1.35), (1.175,1.222,1.31,1.287), (1.245,1.222,1.31,1.35), (2.19,1.272,2.255,1.35), (0,1.285,7,1.4), (6.7,1.285,6.765,1.35), (6.7,1.285,6.765,1.35)])
R(sqrt_complex4_06w, L18_0, [(0,0,7,0.115), (0.265,0.05,0.33,0.517), (1.05,0.05,1.115,0.42), (2.177,0.05,2.242,0.115), (2.177,0.05,2.242,0.115), (2.177,0.05,2.242,0.285), (4.43,0.05,4.495,0.115), (4.43,0.05,4.495,0.115), (4.43,0.05,4.495,0.115), (4.43,0.05,4.495,0.115), (4.43,0.05,4.495,0.34), (5.392,0.05,5.457,0.115), (5.392,0.05,5.457,0.115), (5.392,0.05,5.457,0.115), (5.392,0.05,5.457,0.115), (5.392,0.05,5.457,0.34), (5.875,0.05,5.94,0.115), (5.875,0.05,5.94,0.115), (5.875,0.05,5.94,0.407), (6.82,0.05,6.885,0.442), (0.842,0.205,0.977,0.282), (6.012,0.205,6.147,0.27), (6.082,0.205,6.287,0.27), (6.222,0.205,6.287,0.27), (6.222,0.205,6.287,0.27), (6.222,0.205,6.287,0.27), (6.222,0.205,6.48,0.27), (6.415,0.205,6.48,0.27), (6.415,0.205,6.48,0.27), (6.415,0.205,6.48,0.27), (6.415,0.205,6.642,0.27), (6.577,0.205,6.712,0.27), (0.877,0.207,0.942,0.272), (2.17,0.22,2.242,0.355), (2.177,0.22,2.242,0.285), (2.177,0.22,2.242,0.285), (2.942,0.232,3.007,0.367), (2.942,0.232,3.075,0.297), (3.01,0.232,3.075,0.297), (3.01,0.232,3.215,0.297), (3.15,0.232,3.215,0.297), (3.15,0.232,3.215,0.297), (3.15,0.232,3.215,0.297), (3.15,0.232,3.427,0.297), (3.362,0.232,3.427,0.297), (3.362,0.232,3.572,0.297), (3.507,0.232,3.572,0.297), (3.507,0.232,3.572,0.297), (3.507,0.232,3.572,0.297), (3.507,0.232,3.72,0.297), (3.655,0.232,3.79,0.297), (3.725,0.232,3.79,0.297), (3.725,0.232,3.79,0.297), (3.725,0.232,3.94,0.297), (3.875,0.232,3.94,0.297), (3.875,0.232,4.077,0.297), (4.012,0.232,4.077,0.297), (4.012,0.232,4.095,0.297), (4.03,0.232,4.165,0.297), (2.942,0.267,3.007,0.332), (4.43,0.275,4.565,0.34), (5.185,0.275,5.32,0.34), (5.255,0.275,5.32,0.34), (5.255,0.275,5.32,0.34), (5.255,0.275,5.457,0.34), (5.392,0.275,5.457,0.34), (5.875,0.342,5.94,0.407), (5.875,0.342,5.94,0.407), (5.875,0.342,5.94,0.407), (5.875,0.342,5.94,0.407), (5.875,0.342,5.94,0.407), (5.875,0.342,6.045,0.407), (5.98,0.342,6.045,0.477), (0.97,0.355,1.115,0.42), (1.05,0.355,1.115,0.42), (1.05,0.355,1.115,0.42), (1.05,0.355,1.115,0.42), (1.05,0.355,1.115,0.42), (1.05,0.355,1.115,0.42), (1.05,0.355,1.115,0.42), (6.697,0.377,6.762,0.47), (6.697,0.377,6.885,0.442), (6.82,0.377,6.885,0.442), (6.82,0.377,6.885,0.442), (6.82,0.377,6.885,0.442), (6.82,0.377,6.885,0.442), (6.82,0.377,6.885,0.442), (6.82,0.377,6.885,0.442), (6.82,0.377,6.885,0.442), (6.682,0.405,6.747,0.54), (6.682,0.405,6.762,0.47), (0.195,0.452,0.33,0.517), (0.265,0.452,0.33,0.517), (0.265,0.452,0.33,0.517), (0.265,0.452,0.33,0.517), (0.265,0.452,0.33,0.517), (0.265,0.452,0.33,0.517), (0.265,0.452,0.33,0.517), (4.03,0.51,4.165,0.575), (4.03,0.51,4.095,0.85), (4.425,0.552,4.49,0.617), (4.425,0.552,4.49,0.712), (4.425,0.552,4.632,0.617), (4.567,0.552,4.632,0.617), (4.567,0.552,4.737,0.617), (4.672,0.552,4.737,0.617), (4.672,0.552,4.807,0.617), (4.742,0.552,4.807,0.617), (4.742,0.552,4.975,0.617), (4.91,0.552,4.975,0.617), (4.91,0.552,4.975,0.617), (4.91,0.552,4.975,0.617), (4.91,0.552,5.112,0.617), (5.047,0.552,5.112,0.617), (5.047,0.552,5.112,0.777), (0.182,0.617,0.257,0.757), (1.142,0.63,1.207,0.785), (4.412,0.647,4.477,0.782), (4.412,0.647,4.49,0.712), (4.425,0.647,4.49,0.712), (0.182,0.657,0.247,0.722), (1.142,0.682,1.207,0.747), (4.412,0.682,4.477,0.747), (5.047,0.712,5.112,0.777), (5.047,0.712,5.15,0.777), (5.085,0.712,5.22,0.777), (5.667,0.712,5.802,0.777), (5.737,0.712,5.87,0.777), (5.805,0.712,5.87,0.782), (5.805,0.717,5.94,0.782), (5.875,0.717,5.94,0.782), (5.875,0.717,6.077,0.782), (6.012,0.717,6.077,0.782), (6.012,0.717,6.077,0.782), (6.012,0.717,6.077,0.782), (6.012,0.717,6.215,0.782), (6.15,0.717,6.215,0.782), (6.15,0.717,6.282,0.782), (6.217,0.717,6.352,0.782), (6.757,0.74,6.835,0.877), (6.557,0.742,6.692,0.82), (6.592,0.742,6.657,0.807), (6.767,0.777,6.832,0.842), (3.655,0.785,3.79,0.85), (3.725,0.785,3.79,0.85), (3.725,0.785,3.79,0.85), (3.725,0.785,3.94,0.85), (3.875,0.785,3.94,0.85), (3.875,0.785,3.94,0.85), (3.875,0.785,3.94,0.85), (3.875,0.785,4.095,0.85), (4.03,0.785,4.095,0.85), (4.03,0.785,4.095,0.85), (4.03,0.785,4.165,0.85), (4.1,0.785,4.215,0.85), (4.15,0.785,4.215,0.85), (4.15,0.785,4.215,1.057), (6.7,0.947,6.765,1.222), (4.15,0.992,4.215,1.057), (4.15,0.992,4.352,1.057), (4.287,0.992,4.352,1.057), (4.287,0.992,4.49,1.057), (4.425,0.992,4.49,1.057), (4.425,0.992,4.49,1.057), (4.425,0.992,4.49,1.057), (4.425,0.992,4.632,1.057), (4.567,0.992,4.632,1.057), (4.567,0.992,4.737,1.057), (4.672,0.992,4.737,1.057), (4.672,0.992,4.77,1.057), (4.705,0.992,4.77,1.057), (4.705,0.992,4.875,1.057), (4.81,0.992,4.945,1.057), (4.88,0.992,4.945,1.057), (4.88,0.992,4.945,1.057), (4.88,0.992,5.112,1.057), (5.047,0.992,5.112,1.057), (5.047,0.992,5.112,1.057), (5.047,0.992,5.112,1.057), (5.047,0.992,5.25,1.057), (5.185,0.992,5.25,1.057), (5.185,0.992,5.25,1.057), (5.185,0.992,5.25,1.057), (5.185,0.992,5.457,1.057), (5.392,0.992,5.457,1.057), (5.392,0.992,5.595,1.057), (5.53,0.992,5.595,1.057), (5.53,0.992,5.635,1.057), (5.57,0.992,5.705,1.057), (5.64,0.992,5.732,1.057), (5.667,0.992,5.732,1.057), (5.667,0.992,5.872,1.057), (5.807,0.992,5.872,1.057), (5.807,0.992,5.94,1.057), (5.875,0.992,5.94,1.057), (5.875,0.992,6.077,1.057), (6.012,0.992,6.077,1.057), (6.012,0.992,6.077,1.057), (6.012,0.992,6.077,1.057), (6.012,0.992,6.285,1.057), (6.22,0.992,6.285,1.102), (6.22,1.037,6.285,1.102), (6.22,1.037,6.285,1.102), (6.22,1.037,6.425,1.102), (6.36,1.037,6.425,1.172), (0.25,1.052,0.315,1.187), (0.25,1.122,0.315,1.35), (6.7,1.157,6.765,1.35), (1.575,1.187,1.71,1.252), (1.645,1.187,1.71,1.35), (3.5,1.19,3.635,1.255), (3.57,1.19,3.635,1.35), (2.19,1.202,2.255,1.337), (0.61,1.222,0.745,1.287), (0.68,1.222,0.745,1.35), (1.175,1.222,1.31,1.287), (1.245,1.222,1.31,1.35), (2.19,1.272,2.255,1.35), (0,1.285,7,1.4), (6.7,1.285,6.765,1.35), (6.7,1.285,6.765,1.35)])
R(sqrt_complex4_06w, boundary, [(0,0,7,1.4)])
sqrt_complex4_06w.add(gdstk.Label('A', (1.175,0.715), layer=11, texttype=0))
sqrt_complex4_06w.add(gdstk.Label('B', (0.91,0.24), layer=11, texttype=0))
sqrt_complex4_06w.add(gdstk.Label('C', (0.215,0.69), layer=11, texttype=0))
sqrt_complex4_06w.add(gdstk.Label('D', (6.625,0.775), layer=11, texttype=0))
sqrt_complex4_06w.add(gdstk.Label('E', (6.8,0.81), layer=11, texttype=0))
sqrt_complex4_06w.add(gdstk.Label('Y', (2.975,0.3), layer=11, texttype=0))
sqrt_complex4_06w.add(gdstk.Label('VCC', (0,1.4), layer=11, texttype=0))
sqrt_complex4_06w.add(gdstk.Label('GND', (0,0), layer=11, texttype=0))

lib.write_gds('SQRT_COMPLEX4_06W.gds')
